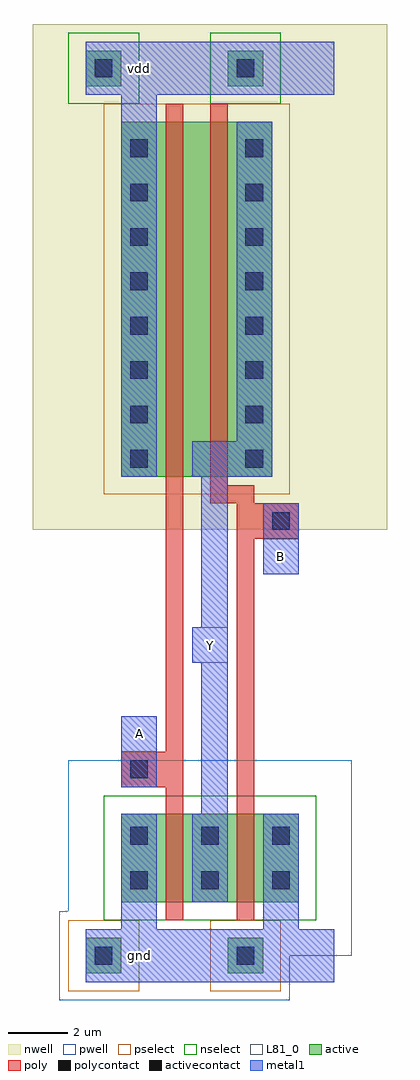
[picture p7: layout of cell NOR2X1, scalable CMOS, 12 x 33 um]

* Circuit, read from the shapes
.subckt NOR2X1 A B Y gnd vdd
M1 Y A gnd gnd nfet w=3u l=0.6u
M2 gnd B Y gnd nfet w=3u l=0.6u
M3 n1 A vdd vdd pfet w=12u l=0.6u
M4 Y B n1 vdd pfet w=12u l=0.6u
.ends

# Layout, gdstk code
import gdstk
lib = gdstk.Library(unit=1e-6, precision=1e-09)
def R(c, l, rs):  # rectangles x0, y0, x1, y1
    for r in rs: c.add(gdstk.rectangle(r[:2], r[2:], *l))
def A(c, l, x, y, w, h, nx, ny, dx, dy):  # array of equal rectangles
    R(c, l, [(x+i*dx, y+j*dy, x+i*dx+w, y+j*dy+h) for i in range(nx) for j in range(ny)])
pwell = (41, 0)
nwell = (42, 0)
active = (43, 0)
pselect = (44, 0)
nselect = (45, 0)
poly = (46, 0)
polycontact = (47, 0)
activecontact = (48, 0)
metal1 = (49, 0)
L81_0 = (81, 0)

nor2x1 = lib.new_cell('NOR2X1')
R(nor2x1, pwell, [(-1.5,-1.5,6.3,0), (-1.5,0,8.4,1.5), (-1.2,1.5,8.4,6.6)])
R(nor2x1, nwell, [(-2.4,14.4,9.6,31.5)])
R(nor2x1, active, [(-0.6,-0.6,0.6,0.6), (4.2,-0.6,5.4,0.6), (0.6,1.8,6.6,4.8), (0.6,16.2,5.7,28.2), (-0.6,29.4,0.6,30.6), (4.2,29.4,5.4,30.6)])
R(nor2x1, pselect, [(-1.2,-1.2,1.2,1.2), (3.6,-1.2,6,1.2), (0,15.6,6.3,28.8)])
R(nor2x1, nselect, [(0,1.2,7.2,5.4), (-1.2,28.8,1.2,31.2), (3.6,28.8,6,31.2)])
R(nor2x1, poly, [(2.1,1.2,2.7,5.7), (4.5,1.2,5.1,14.1), (0.6,5.7,2.7,6.9), (2.1,6.9,2.7,28.8), (4.5,14.1,6.6,15.3), (3.6,15.3,5.1,15.9), (3.6,15.9,4.2,28.8)])
R(nor2x1, polycontact, [(0.9,6,1.5,6.6), (5.7,14.4,6.3,15)])
A(nor2x1, activecontact, 0.9, 2.25, 0.6, 0.6, 3, 2, 2.4, 1.5)
A(nor2x1, activecontact, 0.9, 16.5, 0.6, 0.6, 1, 8, 0, 1.5)
A(nor2x1, activecontact, 4.8, 16.5, 0.6, 0.6, 1, 8, 0, 1.5)
R(nor2x1, activecontact, [(-0.3,-0.3,0.3,0.3), (4.5,-0.3,5.1,0.3), (-0.3,29.7,0.3,30.3), (4.5,29.7,5.1,30.3)])
R(nor2x1, metal1, [(-0.6,-0.9,7.8,0.9), (0.6,0.9,1.8,4.8), (5.4,0.9,6.6,4.8), (3,1.8,4.2,4.8), (3.3,4.8,4.2,9.9), (0.6,5.7,1.8,8.1), (3,9.9,4.2,11.1), (3.3,11.1,4.2,16.2), (5.4,12.9,6.6,15.3), (0.6,16.2,1.8,29.1), (3,16.2,5.7,17.4), (4.5,17.4,5.7,28.2), (-0.6,29.1,7.8,30.9)])
R(nor2x1, L81_0, [(0.6,6.9,1.8,8.1), (3,9.9,4.2,11.1), (5.4,12.9,6.6,14.1)])
nor2x1.add(gdstk.Label('vdd', (1.2,30), layer=49, texttype=0))
nor2x1.add(gdstk.Label('B', (6,13.5), layer=49, texttype=0))
nor2x1.add(gdstk.Label('gnd', (1.2,0), layer=49, texttype=0))
nor2x1.add(gdstk.Label('Y', (3.6,10.5), layer=49, texttype=0))
nor2x1.add(gdstk.Label('A', (1.2,7.5), layer=49, texttype=0))

lib.write_gds('NOR2X1.gds')
